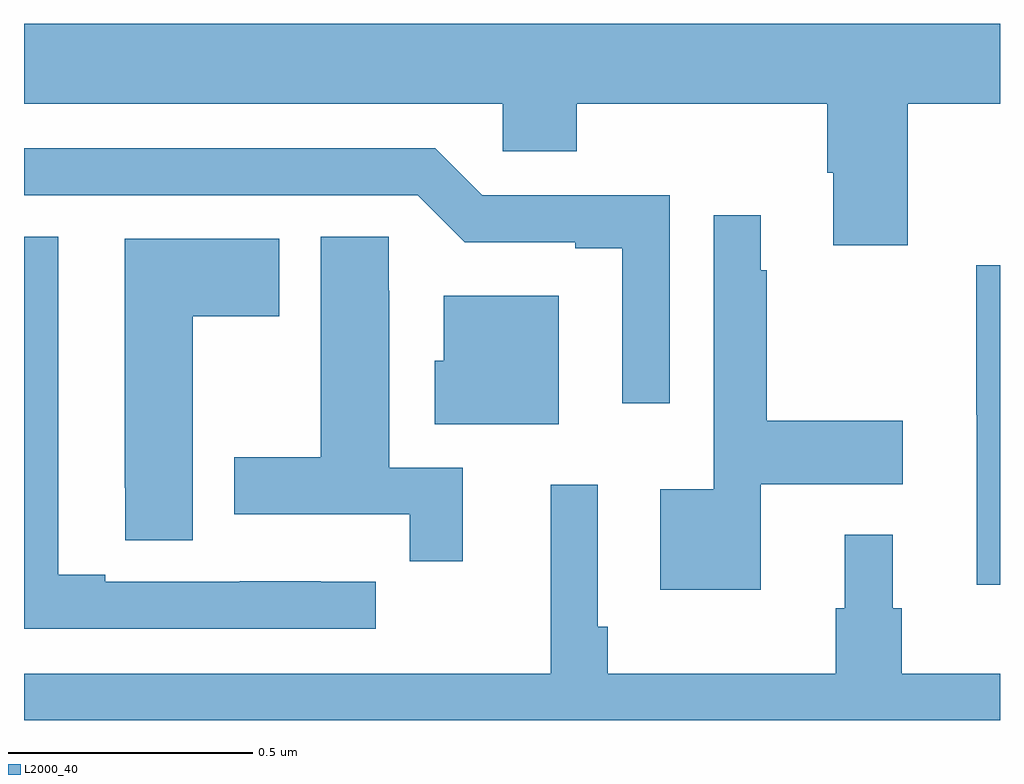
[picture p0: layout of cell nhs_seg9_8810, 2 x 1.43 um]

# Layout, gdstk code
import gdstk
lib = gdstk.Library(unit=1e-6, precision=1e-09)
def P(c, l, *ps):  # polygons
    for p in ps: c.add(gdstk.Polygon(p, *l))
L2000_40 = (2000, 40)

nhs_seg9_8810 = lib.new_cell('nhs_seg9_8810')
P(nhs_seg9_8810, L2000_40, [(223.811,1185.764),(224,1185.764),(224,1185.928),(222,1185.928),(222,1185.764),(222.981,1185.764),(222.981,1185.666),(223.133,1185.666),(223.133,1185.764),(223.646,1185.764),(223.646,1185.622),(223.658,1185.622),(223.658,1185.474),(223.811,1185.474)],
  [(223.323,1185.576),(222.939,1185.576),(222.843,1185.672),(222,1185.672),(222,1185.576),(222.807,1185.576),(222.903,1185.48),(223.13,1185.48),(223.13,1185.468),(223.226,1185.468),(223.226,1185.15),(223.323,1185.15)],
  [(223.51,1184.984),(223.801,1184.984),(223.801,1185.114),(223.522,1185.114),(223.522,1185.422),(223.51,1185.422),(223.51,1185.535),(223.413,1185.535),(223.413,1184.974),(223.304,1184.974),(223.304,1184.768),(223.51,1184.768)],
  [(222.899,1185.018),(222.748,1185.018),(222.748,1185.38),(222.747,1185.38),(222.747,1185.491),(222.608,1185.491),(222.608,1185.039),(222.431,1185.039),(222.431,1184.922),(222.79,1184.922),(222.79,1184.826),(222.899,1184.826)],
  [(222.721,1184.784),(222.608,1184.784),(222.608,1184.785),(222.442,1184.785),(222.442,1184.784),(222.166,1184.784),(222.166,1184.799),(222.07,1184.799),(222.07,1185.491),(222,1185.491),(222,1184.688),(222.721,1184.688)],
  [(222.346,1185.328),(222.523,1185.328),(222.523,1185.487),(222.206,1185.487),(222.206,1184.977),(222.207,1184.977),(222.207,1184.869),(222.346,1184.869)],
  [(224,1185.433),(223.951,1185.433),(223.951,1185.126),(223.952,1185.126),(223.952,1184.778),(224,1184.778)],
  [(223.096,1185.37),(222.86,1185.37),(222.86,1185.237),(222.842,1185.237),(222.842,1185.107),(223.096,1185.107)],
  [(224,1184.596),(223.799,1184.596),(223.799,1184.73),(223.78,1184.73),(223.78,1184.881),(223.682,1184.881),(223.682,1184.73),(223.663,1184.73),(223.663,1184.596),(223.196,1184.596),(223.196,1184.692),(223.176,1184.692),(223.176,1184.983),(223.079,1184.983),(223.079,1184.596),(222,1184.596),(222,1184.5),(224,1184.5)])

lib.write_gds('nhs_seg9_8810.gds')
